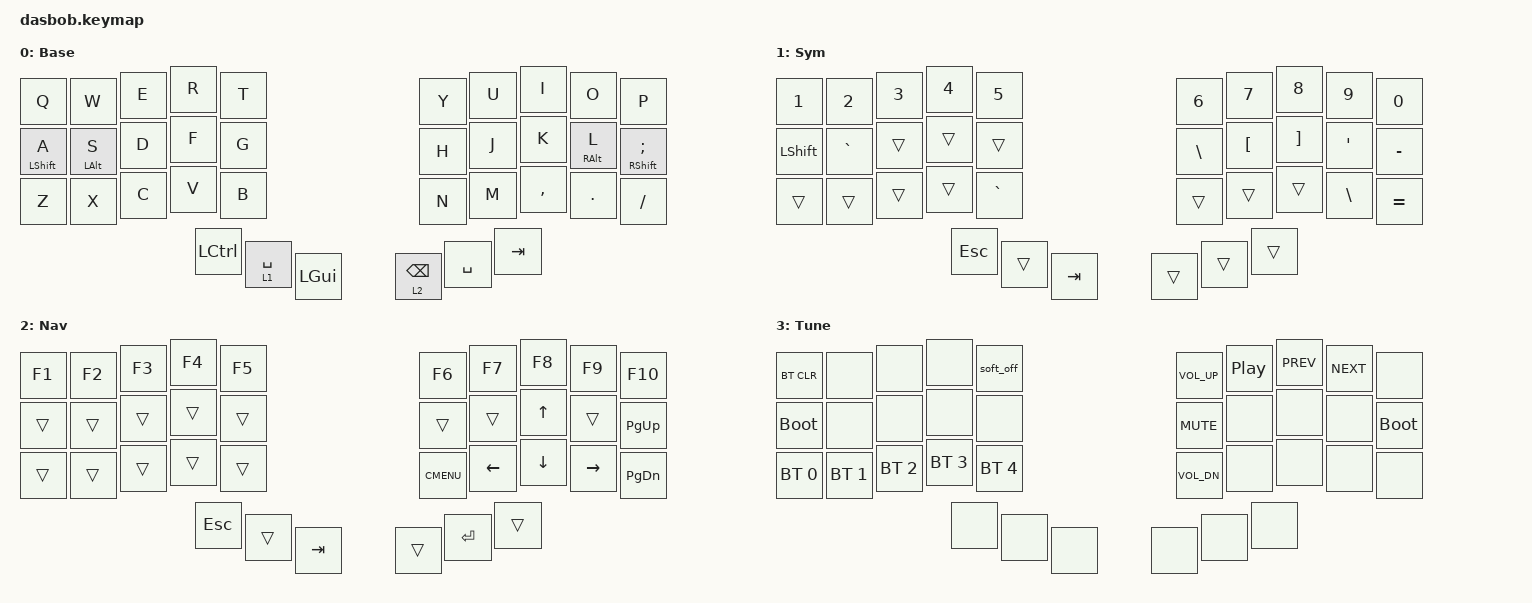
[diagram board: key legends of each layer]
#include <behaviors.dtsi>
#include <dt-bindings/zmk/bt.h>
#include <dt-bindings/zmk/keys.h>
#include <dt-bindings/zmk/ext_power.h>


// https://github.com/urob/zmk-config?tab=readme-ov-file#timeless-homerow-mods
// https://github.com/urob/zmk-helpers/blob/main/include/zmk-helpers/key-labels/42.h

#define KEYS_L 5 4 3 2 1 0 17 16 15 14 13 12 29 28 27 26 25 24    // Left-hand keys.
#define KEYS_R 6 7 8 9 10 11 18 19 20 21 22 23 30 31 32 33 34 35  // Right-hand keys.
#define THUMBS 36 37 38 39 40 41                                  // Thumb keys.
#define TTERM_MS 280
#define QTAP_MS 175
#define RPIM_MS 110


/ {
    behaviors {
        hmr: hmr {
            compatible = "zmk,behavior-hold-tap";
            label = "HMR";
            bindings = <&kp>, <&kp>;

            #binding-cells = <2>;
            tapping-term-ms = <TTERM_MS>;
            quick-tap-ms = <QTAP_MS>;
            require-prior-idle-ms = <RPIM_MS>;
            flavor = "balanced";
            hold-trigger-on-release;
            hold-trigger-key-positions = <KEYS_L THUMBS>;
        };

        hml: hml {
            compatible = "zmk,behavior-hold-tap";
            label = "HML";
            bindings = <&kp>, <&kp>;

            #binding-cells = <2>;
            tapping-term-ms = <TTERM_MS>;
            quick-tap-ms = <QTAP_MS>;
            require-prior-idle-ms = <RPIM_MS>;
            flavor = "balanced";
            hold-trigger-on-release;
            hold-trigger-key-positions = <KEYS_R THUMBS>;
        };
    };

    macros {
        snip: snip {
            compatible = "zmk,behavior-macro";
            #binding-cells = <0>;
            bindings = <&kp LSHFT &kp LEFT_GUI &kp S>;
            label = "SNIP";
        };

        lock: lock {
            compatible = "zmk,behavior-macro";
            #binding-cells = <0>;
            bindings = <&kp LEFT_GUI &kp L>;
            label = "LOCK";
        };
    };

    combos {
        compatible = "zmk,combos";

        to_base {
            bindings = <&to 0>;
            key-positions = <13 16>;
        };

        to_cyr {
            bindings = <&none>;
            key-positions = <14 15>;
        };
    };

    keymap {
        compatible = "zmk,keymap";

        Base {
            label = "Base";
            bindings = <
&kp Q         &kp W        &kp E        &kp R         &kp T      &kp Y              &kp U         &kp I            &kp O             &kp P
&hml LSHFT A  &hml LALT S  &kp D        &kp F         &kp G      &kp H              &kp J         &kp K            &hmr RIGHT_ALT L  &hmr RSHFT SEMI
&kp Z         &kp X        &kp C        &kp V         &kp B      &kp N              &kp M         &kp COMMA        &kp DOT           &kp SLASH
                           &kp LCTRL    &lt 1 SPACE   &kp LGUI   &lt 2 BACKSPACE    &kp SPACE     &kp TAB
            >;
        };

        Sym {
            label = "Sym";
            bindings = <
&kp N1     &kp N2     &kp N3    &kp N4      &kp N5       &kp N6     &kp N7     &kp N8   &kp N9   &kp N0
&kp LSHFT  &kp GRAVE  &trans    &trans      &trans       &kp BSLH   &kp LBKT   &kp RBKT &kp APOS &kp MINUS
&trans     &trans     &trans    &trans      &kp GRAVE    &trans     &trans     &trans   &kp BSLH &kp EQUAL
                      &kp ESC   &trans      &kp TAB      &trans     &trans     &trans
            >;
        };

        Nav {
            label = "Nav";
            bindings = <
&kp F1    &kp F2  &kp F3    &kp F4      &kp F5       &kp F6          &kp F7          &kp F8          &kp F9           &kp F10
&trans    &trans  &trans    &trans      &trans       &trans          &trans          &kp UP_ARROW    &trans           &kp PG_UP
&trans    &trans  &trans    &trans      &trans       &kp K_CMENU     &kp LEFT_ARROW  &kp DOWN_ARROW  &kp RIGHT_ARROW  &kp PG_DN
                  &kp ESC   &trans      &kp TAB      &trans          &kp ENTER       &trans
            >;
        };

        Tune {
            label = "Tune";
            bindings = <
&bt BT_CLR    &none         &none         &none             &soft_off          &kp C_VOLUME_UP  &kp C_PP      &kp C_PREV  &kp C_NEXT       &none
&bootloader   &none         &none         &none             &none              &kp C_MUTE       &none         &none     &none       &bootloader
&bt BT_SEL 0  &bt BT_SEL 1  &bt BT_SEL 2  &bt BT_SEL 3      &bt BT_SEL 4       &kp C_VOL_DN     &none         &none     &none       &none
                            &none         &none             &none              &none            &none         &none
            >;
        };
    };

    conditional_layers {
        compatible = "zmk,conditional-layers";

        raise_lower {
            if-layers = <2 1>;
            then-layer = <3>;
        };
    };
};
